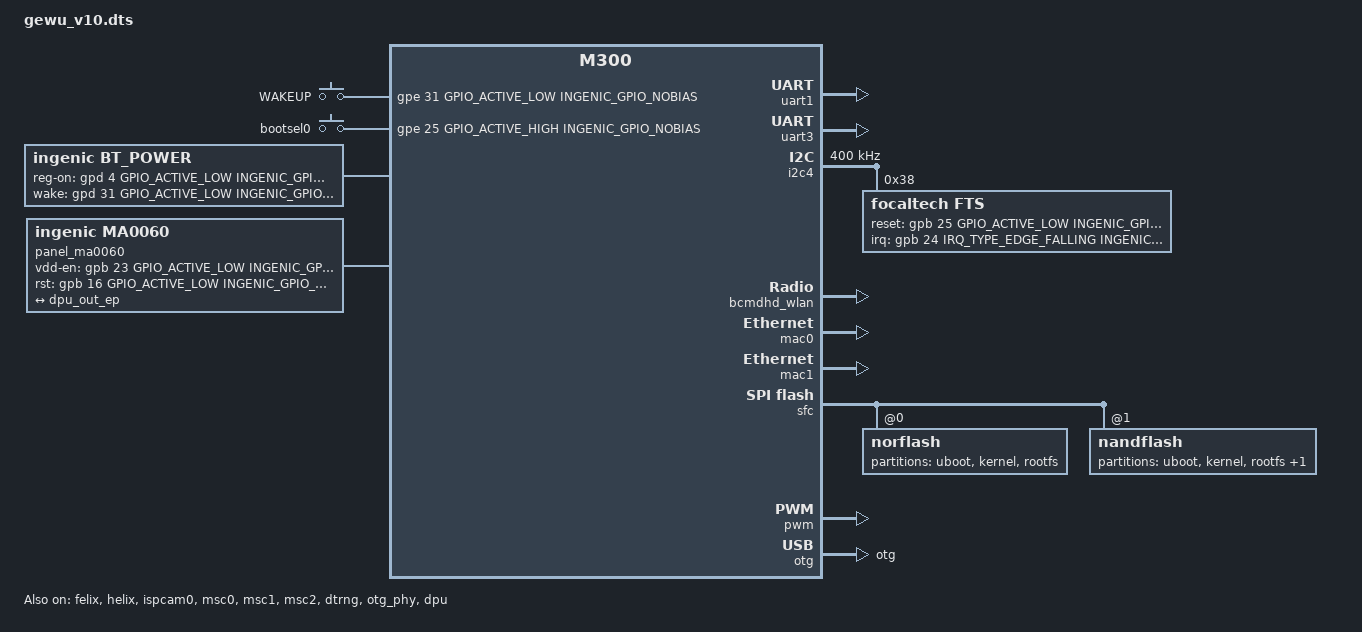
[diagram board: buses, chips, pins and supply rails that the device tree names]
/dts-v1/;

#include <dt-bindings/input/input.h>
#include "m300.dtsi"
#include <dt-bindings/interrupt-controller/irq.h>
#include <generated/autoconf.h>

#ifdef CONFIG_CAMERA_V10
#ifdef CONFIG_OV4689_1080P_120FPS
#include "gewu_cameras/CAMERA_1.0_4LINE.dtsi"
#else
#include "gewu_cameras/CAMERA_1.0.dtsi"
#endif
#endif

/ {
	compatible = "ingenic,gewu_v10", "ingenic,m300";

	/*chosen {
		bootargs = "console=ttyS1,115200 mem=128M@0x0ip=off init=/linuxrc ubi.mtd=3 root=ubi0:rootfs ubi.mtd=4 rootfstype=ubifs rw";
	};*/


	reserved-memory {
		#address-cells = <1>;
		#size-cells = <1>;
		ranges =<>;

		reserved_memory: reserved_mem@0x6000000{
		      compatible = "shared-dma-pool";
		      reg = <0x06000000 0x2000000>;
		};
	};
};

&uart1 {
	status = "okay";
	pinctrl-names = "default";
	pinctrl-0 = <&uart1_pc_rx_tx>;
};

&uart3 {
	status = "okay";
	pinctrl-names = "default";
	pinctrl-0 = <&uart3_pd>;
};

&cpufreq {
	status = "okay";
	operating-points = <
		/*KHZ uV */
		1200000	900000
		750000	900000
		600000	900000
		500000	900000
		400000	900000
		375000	900000
		300000	900000
		200000	900000
			>;

};

&pinctrl {
	ingenic,gpa_voltage = <GPIO_VOLTAGE_1V8>;
};

&i2c0 {
	status = "disable";

};

&i2c4 {
	status = "okay";
	clock-frequency = <400000>;
	pinctrl-names = "default";
	pinctrl-0 = <&i2c4_pc>;

	focaltech@38{
		status = "okay";
		compatible = "focaltech,fts"; /* do not modify */
		reg = <0x38>; /* do not modify */
		focaltech,reset-gpio = <&gpb 25 GPIO_ACTIVE_LOW INGENIC_GPIO_NOBIAS>; /* RST pin */
		focaltech,irq-gpio = <&gpb 24 IRQ_TYPE_EDGE_FALLING INGENIC_GPIO_NOBIAS>; /* INT pin */
		focaltech,max-touch-number = <5>;
		focaltech,display-coords = <0 0 1080 1920>;	/* resolution */

		/* key settings */
		focaltech,have-key;
		focaltech,key-number = <3>;
		focaltech,keys = <139 172 158>; /* key codes*/
		focaltech,key-x-coords = <200 600 800>; /* keys x coords */
		focaltech,key-y-coords = <2000 2000 2000>; /* keys y coords */

	};
};

&felix {
	status = "okay";
	memory-region=<&reserved_memory>;
};

&helix {
	status = "okay";
	memory-region=<&reserved_memory>;
};

&ispcam0 {
	status = "okay";
	memory-region=<&reserved_memory>;
};

&pdma {
	status = "okay";
};

&msc0 {
	status = "okay";
	pinctrl-names ="default";
	pinctrl-0 = <&msc0_8bit>;
	mmc-hs200-1_8v;
	cap-mmc-highspeed;
	non-removable;
	max-frequency = <200000000>;
	bus-width = <8>;
	non-removable;
	voltage-ranges = <1800 3300>;

	/* special property */
	enable_cpm_tx_tuning;
	ingenic,rst-gpios = <0>;
};

&msc1 {
	status = "okay";
	pinctrl-names ="default","enable", "disable";
	pinctrl-0 = <&msc1_4bit>;
	pinctrl-1 = <&rtc32k_enable>;
	pinctrl-2 = <&rtc32k_disable>;

	sd-uhs-sdr104;
	max-frequency = <150000000>;
	bus-width = <4>;
	voltage-ranges = <1800 3300>;
	non-removable;

	ingenic,sdio_clk = <1>;
	keep-power-in-suspend;

	/* special property */
	ingenic,sdr-gpios = <0>;
	ingenic,rst-gpios = <0>;
	ingenic,removal-manual; /*removal-dontcare, removal-nonremovable, removal-removable, removal-manual*/

	bcmdhd_wlan: bcmdhd_wlan {
		 compatible = "android,bcmdhd_wlan";
		 ingenic,sdio-irq = <&gpe 26 IRQ_TYPE_LEVEL_HIGH INGENIC_GPIO_NOBIAS>;
		 ingenic,sdio-reset = <&gpd 5 GPIO_ACTIVE_LOW INGENIC_GPIO_NOBIAS>;
	};
};


&msc2 {
	status = "okay";
	pinctrl-names ="default";
	pinctrl-0 = <&msc2_4bit>;
	sd-uhs-sdr104;
	sd-uhs-sdr50;
	/* cd-inverted; */
	max-frequency = <200000000>;
	bus-width = <4>;
	voltage-ranges = <1800 3300>;

	cd-gpios = <&gpc 1 GPIO_ACTIVE_LOW INGENIC_GPIO_NOBIAS>;
	/* special property */
	ingenic,sdr-gpios = <&gpc 0 GPIO_ACTIVE_HIGH INGENIC_GPIO_NOBIAS>;
	ingenic,rst-gpios = <0>;
};

&mac0 {
	pinctrl-names = "default", "reset";
	pinctrl-0 = <&mac0_rgmii_p0_normal>, <&mac0_rgmii_p1_normal>;
	pinctrl-1 = <&mac0_rgmii_p0_rst>, <&mac0_rgmii_p1_normal>;
	status = "okay";
	ingenic,rst-gpio = <&gpb 2 GPIO_ACTIVE_LOW INGENIC_GPIO_NOBIAS>;
	ingenic,rst-ms = <10>;
	ingenic,rst-delay-ms = <15>;
	ingenic,mac-mode = <RGMII>;
	ingenic,mode-reg = <0xb00000e4>;
	ingenic,rx-clk-delay = <0x2>;
	ingenic,tx-clk-delay = <0x3f>;
};

&mac1 {
	pinctrl-names = "default", "reset";
	pinctrl-0 = <&mac1_rgmii_p0_normal>, <&mac1_rgmii_p1_normal>;
	pinctrl-1 = <&mac1_rgmii_p0_rst>, <&mac1_rgmii_p1_normal>;
	status = "okay";
	ingenic,rst-gpio = <&gpb 26 GPIO_ACTIVE_LOW INGENIC_GPIO_NOBIAS>;
	ingenic,rst-ms = <10>;
	ingenic,rst-delay-ms = <15>;
	ingenic,mac-mode = <RGMII>;
	ingenic,mode-reg = <0xb00000e8>;
	ingenic,rx-clk-delay = <0x0>;
	ingenic,tx-clk-delay = <0x3f>;
};

&sfc {
	status = "okay";
	pinctrl-names = "default";
	pinctrl-0 = <&sfc_pe>;
	ingenic,sfc-init-frequency = <200000000>;
	ingenic,sfc-max-frequency = <400000000>;
	ingenic,use_ofpart_info  = /bits/ 8 <0>;
	ingenic,spiflash_param_offset = <0>;

	norflash@0 {
		partitions {
			compatible = "fixed-partitions";
			#address-cells = <1>;
			#size-cells = <1>;

			/* spi nor flash partition */
			uboot@0 {
				label = "uboot";
				reg = <0x0000000 0x40000>;
				/*read-only;*/
			};

			kernel@40000 {
				label = "kernel";
				reg = <0x40000 0x300000>;
			};

			rootfs@360000 {
				label = "rootfs";
				reg = <0x360000 0xca0000>;
			};
		};
	};

	nandflash@1 {
		partitions {
			compatible = "fixed-partitions";
			#address-cells = <1>;
			#size-cells = <1>;

			/* spi nand flash partition */
			partition@0 {
				label = "uboot";
				reg = <0x0000000 0x100000>;
				/*read-only;*/
			};

			partition@100000 {
				label = "kernel";
				reg = <0x100000 0x800000>;
			};

			partition@900000 {
				label = "rootfs";
				reg = <0x900000 0x2800000>;
			};

			partition@3100000 {
				label = "userdata";
				reg = <0x3100000 0xcf00000>;
			};
		};
	};

};


&spi0 {
	status = "disable";
	pinctrl-names = "default";
	pinctrl-0 = <&spi0_pb>;

	spi-max-frequency = <54000000>;
	num-cs = <2>;
	cs-gpios = <0>, <0>;
	/*cs-gpios = <&gpa 27 GPIO_ACTIVE_HIGH INGENIC_GPIO_NOBIAS>, <&gpa 27 GPIO_ACTIVE_HIGH INGENIC_GPIO_NOBIAS>;*/
	ingenic,chnl = <0>;
	ingenic,allow_cs_same = <1>;
	ingenic,bus_num = <0>;
	ingenic,has_dma_support = <0>;
	ingenic,spi-src-clk = <1>;/*0.ext; 1.ssi*/

	/* Add SPI interface device */
	spidev: spidev@0 {
		compatible = "rohm,dh2228fv";
		reg = <0>;
		spi-max-frequency = <10000000>;
	};
};

&dtrng {
	status = "okay";
};

&pwm {
	pinctrl-names = "default";
	pinctrl-0 = <&pwm0_pd>;
	status = "okay";
};

&otg {
	g-use-dma;
	dr_mode = "otg";
	device-using-dma = <1>;
	status = "okay";
};

&otg_phy {
	status = "okay";
	ingenic,id-dete-gpio = <&gpc 27 GPIO_ACTIVE_LOW INGENIC_GPIO_NOBIAS>;
	ingenic,vbus-dete-gpio = <&gpc 22 GPIO_ACTIVE_LOW INGENIC_GPIO_NOBIAS>;
	ingenic,drvvbus-gpio = <&gpe 22 GPIO_ACTIVE_HIGH INGENIC_GPIO_NOBIAS>;

};

&as_dmic {
	pinctrl-names = "default";
	pinctrl-0 = <&dmic_pc_4ch>;
	status = "disable";
};

&dpu {
	status = "okay";
	ingenic,disable-rdma-fb = <1>;
	/*Defines the init state of composer fb export infomations.*/
	ingenic,layer-exported = <1 1 0 0>;
	ingenic,layer-frames   = <2 2 2 2>;
	ingenic,layer-framesize = <720 1280>, <720 1280>, <320 240>, <320 240>;   /*Max framesize for each layer.*/
	layer,color_mode	= <0 0 0 0>;					/*src fmt,*/
	layer,src-size       	= <720 1280>, <720 1280>, <320 240>, <240 200>;	/*Layer src size should smaller than framesize*/
	layer,target-size	= <720 1280>, <720 640>, <160 240>, <240 200>;	/*Target Size should smaller than src_size.*/
	layer,target-pos	= <0 0>, <0 640>, <340 480>, <100 980>;	/*target pos , the start point of the target panel.*/
	layer,enable		= <1 1 1 1>;					/*layer enabled or disabled.*/
	ingenic,logo-pan-layer	= <0>;						/*on which layer should init logo pan on.*/
	port {
		dpu_out_ep: endpoint {
			remote-endpoint = <&panel_ma0060_ep>;
	    };
	};
};


/ {

	extclk: extclk {
		clock-frequency = <24000000>;
	};

	gpio_keys: gpio_keys {
		   compatible = "gpio-keys";

		   wakeup {
			   label = "WAKEUP";
			   linux,code = <KEY_WAKEUP>;
			   gpios = <&gpe 31 GPIO_ACTIVE_LOW INGENIC_GPIO_NOBIAS>;
			   gpio-key,wakeup;
		   };

		   bootsel0 {
			   label = "bootsel0";
			   linux,code = <KEY_HOME>;
			   gpios = <&gpe 25 GPIO_ACTIVE_HIGH INGENIC_GPIO_NOBIAS>;
		   };

		   /* Conflict with wifi/bt wakeup.
		   bootsel1 {
			   label = "bootsel1";
			   linux,code = <KEY_BACK>;
			   gpios = <&gpe 26 GPIO_ACTIVE_HIGH INGENIC_GPIO_NOBIAS>;
		   };

		   bootsel2 {
			   label = "bootsel2";
			   linux,code = <KEY_MENU>;
			   gpios = <&gpe 27 GPIO_ACTIVE_HIGH INGENIC_GPIO_NOBIAS>;
		   };
		   */
	   };

	/*
	 * gpd 31 bt wakeup host
	 * gpd 4 host wakeup bt
	 */
	bt_power {
		compatible = "ingenic,bt_power";
		ingenic,reg-on-gpio = <&gpd 4 GPIO_ACTIVE_LOW INGENIC_GPIO_NOBIAS>;
		ingenic,wake-gpio = <&gpd 31 GPIO_ACTIVE_LOW INGENIC_GPIO_NOBIAS>;
	};

	sound {
		compatible = "ingenic,m300-sound";
		ingenic,model = "gewu";
	};

	display-dbi {
		compatible = "simple-bus";
		#interrupt-cells = <1>;
		#address-cells = <1>;
		#size-cells = <1>;
		ranges = <>;
		panel_ma0060 {
			compatible = "ingenic,ma0060";
			status = "okay";
			ingenic,vdd-en-gpio = <&gpb 23 GPIO_ACTIVE_LOW INGENIC_GPIO_NOBIAS>;
			ingenic,rst-gpio = <&gpb 16 GPIO_ACTIVE_LOW INGENIC_GPIO_NOBIAS>;
			port {
				panel_ma0060_ep: endpoint {
					remote-endpoint = <&dpu_out_ep>;
				};
			};
		};
	};

	spi_gpio {
		status = "disable";
		compatible = "spi-gpio";
		#address-cells = <1>;
		#size-cells = <0>;

		gpio-sck = <&gpb 28 GPIO_ACTIVE_LOW INGENIC_GPIO_NOBIAS>;
		gpio-miso = <&gpb 29 GPIO_ACTIVE_LOW INGENIC_GPIO_NOBIAS>;
		gpio-mosi = <&gpb 30 GPIO_ACTIVE_LOW INGENIC_GPIO_NOBIAS>;
		cs-gpios = <&gpb 31 GPIO_ACTIVE_LOW INGENIC_GPIO_NOBIAS>;
		num-chipselects = <1>;

		/* clients */
		spidev1: spidev1@0 {
			status = "disable";
			compatible = "rohm,dh2228fv";
			reg = <0>;
			spi-max-frequency = <500000>;
		};
	};
};
